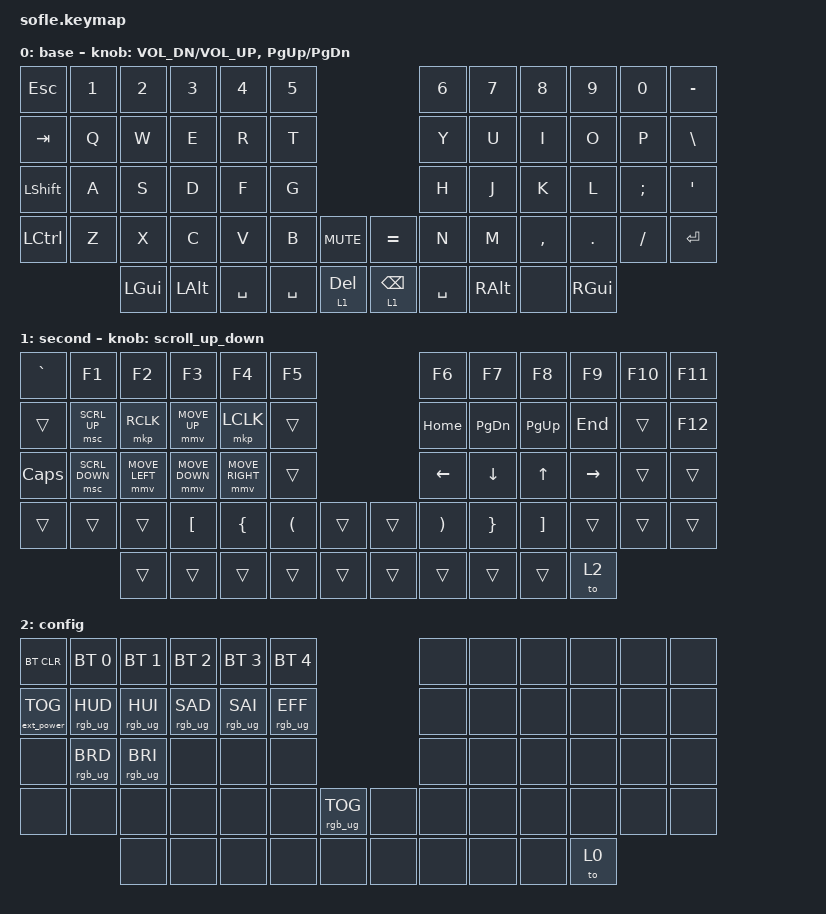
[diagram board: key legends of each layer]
/*
 * Copyright (c) 2020 The ZMK Contributors
 *
 * SPDX-License-Identifier: MIT
 */

#include <behaviors.dtsi>
#include <dt-bindings/zmk/keys.h>
#include <dt-bindings/zmk/bt.h>
#include <dt-bindings/zmk/rgb.h>
#include <dt-bindings/zmk/ext_power.h>
#include <dt-bindings/zmk/mouse.h>
#include <dt-bindings/zmk/pointing.h>

#define BASE 0
#define SECOND 1
#define CONFIG 2
#define ZMK_POINTING_DEFAULT_MOVE_VAL 2500  // default: 600
#define ZMK_POINTING_DEFAULT_SCRL_VAL 40    // default: 10
#define ZMK_MOUSE_SCRL_VAL 140

/ {
    left_encoder: encoder_left {
        compatible = "alps,ec11";
        a-gpios = <&pro_micro 21 (GPIO_ACTIVE_HIGH | GPIO_PULL_UP)>;
        b-gpios = <&pro_micro 20 (GPIO_ACTIVE_HIGH | GPIO_PULL_UP)>;
        steps = <80>;
    };


    sensors {
        compatible = "zmk,keymap-sensors";
        sensors = <&left_encoder>;
        triggers-per-rotation = <20>;
    };


    behaviors {
        rot_kp: sensor_rotate_kp {
            compatible = "zmk,behavior-sensor-rotate-var";
            #sensor-binding-cells = <2>;
            bindings =  <&kp>, <&kp>;
        };

        scroll_up_down: behavior_sensor_rotate_mouse_wheel_up_down {
            compatible = "zmk,behavior-sensor-rotate";
            #sensor-binding-cells = <0>;
            bindings = <&msc SCRL_UP>, <&msc SCRL_DOWN>;
            tap-ms = <20>;
        };

    };


    keymap {
        compatible = "zmk,keymap";

        default_layer {
            display-name = "base";
            bindings = <
&kp ESC   &kp N1 &kp N2   &kp N3   &kp N4    &kp N5                           &kp N6    &kp N7    &kp N8    &kp N9   &kp N0   &kp MINUS 
&kp TAB   &kp Q  &kp W    &kp E    &kp R     &kp T                            &kp Y     &kp U     &kp I     &kp O    &kp P    &kp BSLH
&kp LSHFT &kp A  &kp S    &kp D    &kp F     &kp G                            &kp H     &kp J     &kp K     &kp L    &kp SEMI &kp SQT
&kp LCTRL &kp Z  &kp X    &kp C    &kp V     &kp B      &kp C_MUTE &kp EQUAL  &kp N     &kp M     &kp COMMA &kp DOT  &kp FSLH &kp RET
                 &kp LGUI &kp LALT &kp SPACE &kp SPACE  &lt 1 DEL  &lt 1 BSPC &kp SPACE &kp RALT  &none     &kp RGUI
            >;

            sensor-bindings = <&inc_dec_kp C_VOL_DN C_VOL_UP &inc_dec_kp PG_UP PG_DN>;
        };

        second_layer {
            display-name = "second";
            bindings = <
&kp GRAVE &kp F1         &kp F2         &kp F3         &kp F4           &kp F5                 &kp F6    &kp F7    &kp F8    &kp F9    &kp F10 &kp F11
&trans    &msc SCRL_UP   &mkp RCLK      &mmv MOVE_UP   &mkp LCLK        &trans                 &kp HOME  &kp PG_DN &kp PG_UP &kp END   &trans  &kp F12
&kp CAPS  &msc SCRL_DOWN &mmv MOVE_LEFT &mmv MOVE_DOWN &mmv MOVE_RIGHT  &trans                 &kp LEFT  &kp DOWN  &kp UP    &kp RIGHT &trans  &trans
&trans    &trans         &trans         &kp LBKT       &kp LBRC         &kp LPAR &trans &trans &kp RPAR  &kp RBRC  &kp RBKT  &trans    &trans  &trans
                         &trans         &trans         &trans           &trans   &trans &trans &trans    &trans    &trans    &to 2        
            >;

            sensor-bindings = <&scroll_up_down>;
        };

        config_layer {
            display-name = "config";
            bindings = <
&bt BT_CLR        &bt BT_SEL 0    &bt BT_SEL 1    &bt BT_SEL 2    &bt BT_SEL 3    &bt BT_SEL 4                            &none &none &none &none &none &none
&ext_power EP_TOG &rgb_ug RGB_HUD &rgb_ug RGB_HUI &rgb_ug RGB_SAD &rgb_ug RGB_SAI &rgb_ug RGB_EFF                         &none &none &none &none &none &none
&none             &rgb_ug RGB_BRD &rgb_ug RGB_BRI &none           &none           &none                                   &none &none &none &none &none &none
&none             &none           &none           &none           &none           &none            &rgb_ug RGB_TOG &none  &none &none &none &none &none &none
                                  &none           &none           &none           &none            &none           &none  &none &none &none &to 0
            >;
        };

    };
};
